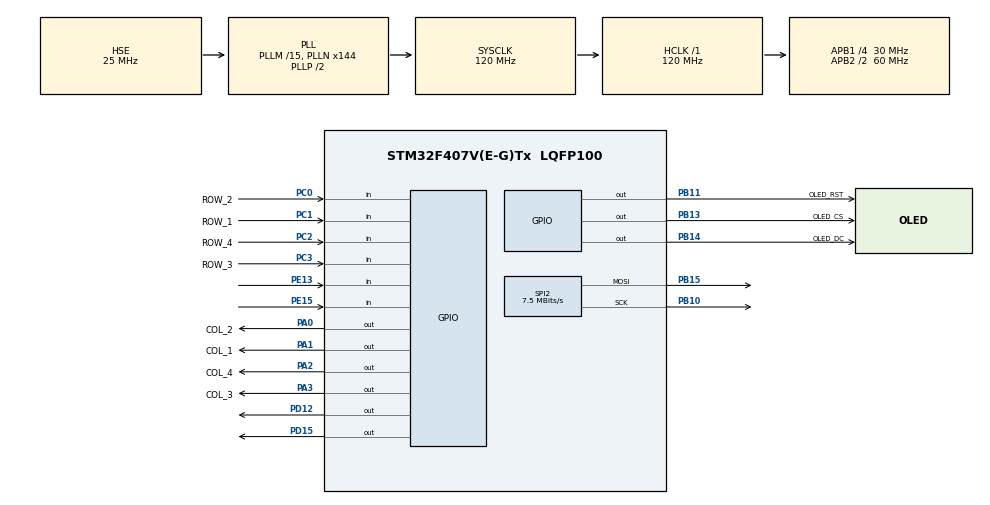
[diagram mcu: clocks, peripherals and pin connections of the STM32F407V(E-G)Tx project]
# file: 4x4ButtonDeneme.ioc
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Mcu.Family=STM32F4
Mcu.Name=STM32F407V(E-G)Tx
Mcu.Package=LQFP100
NVIC.PriorityGroup=NVIC_PRIORITYGROUP_4
PA0-WKUP.GPIO_Label=COL_2
PA0-WKUP.GPIO_ModeDefaultOutputPP=GPIO_MODE_OUTPUT_PP
PA0-WKUP.GPIO_Speed=GPIO_SPEED_FREQ_LOW
PA0-WKUP.PinState=GPIO_PIN_RESET
PA0-WKUP.Signal=GPIO_Output
PA1.GPIO_Label=COL_1
PA1.GPIO_ModeDefaultOutputPP=GPIO_MODE_OUTPUT_PP
PA1.GPIO_Speed=GPIO_SPEED_FREQ_LOW
PA1.PinState=GPIO_PIN_RESET
PA1.Signal=GPIO_Output
PA13.Mode=Serial_Wire
PA13.Signal=SYS_JTMS-SWDIO
PA14.Mode=Serial_Wire
PA14.Signal=SYS_JTCK-SWCLK
PA2.GPIO_Label=COL_4
PA2.GPIO_ModeDefaultOutputPP=GPIO_MODE_OUTPUT_PP
PA2.GPIO_Speed=GPIO_SPEED_FREQ_LOW
PA2.PinState=GPIO_PIN_RESET
PA2.Signal=GPIO_Output
PA3.GPIO_Label=COL_3
PA3.GPIO_ModeDefaultOutputPP=GPIO_MODE_OUTPUT_PP
PA3.GPIO_Speed=GPIO_SPEED_FREQ_LOW
PA3.PinState=GPIO_PIN_RESET
PA3.Signal=GPIO_Output
PB10.Mode=TX_Only_Simplex_Unidirect_Master
PB10.Signal=SPI2_SCK
PB11.GPIO_Label=OLED_RST
PB11.GPIO_ModeDefaultOutputPP=GPIO_MODE_OUTPUT_PP
PB11.GPIO_PuPd=GPIO_PULLUP
PB11.GPIO_Speed=GPIO_SPEED_FREQ_HIGH
PB11.PinState=GPIO_PIN_SET
PB11.Signal=GPIO_Output
PB13.GPIO_Label=OLED_CS
PB13.GPIO_ModeDefaultOutputPP=GPIO_MODE_OUTPUT_PP
PB13.GPIO_PuPd=GPIO_PULLUP
PB13.GPIO_Speed=GPIO_SPEED_FREQ_HIGH
PB13.PinState=GPIO_PIN_SET
PB13.Signal=GPIO_Output
PB14.GPIO_Label=OLED_DC
PB14.GPIO_ModeDefaultOutputPP=GPIO_MODE_OUTPUT_PP
PB14.GPIO_PuPd=GPIO_PULLUP
PB14.GPIO_Speed=GPIO_SPEED_FREQ_HIGH
PB14.PinState=GPIO_PIN_SET
PB14.Signal=GPIO_Output
PB15.Mode=TX_Only_Simplex_Unidirect_Master
PB15.Signal=SPI2_MOSI
PC0.GPIO_Label=ROW_2
PC0.GPIO_PuPd=GPIO_PULLUP
PC0.Signal=GPIO_Input
PC1.GPIO_Label=ROW_1
PC1.GPIO_PuPd=GPIO_PULLUP
PC1.Signal=GPIO_Input
PC2.GPIO_Label=ROW_4
PC2.GPIO_PuPd=GPIO_PULLUP
PC2.Signal=GPIO_Input
PC3.GPIO_Label=ROW_3
PC3.GPIO_PuPd=GPIO_PULLUP
PC3.Signal=GPIO_Input
PD12.Signal=GPIO_Output
PD15.Signal=GPIO_Output
PE13.Signal=GPIO_Input
PE15.Signal=GPIO_Input
PH0-OSC_IN.Mode=HSE-External-Oscillator
PH0-OSC_IN.Signal=RCC_OSC_IN
PH1-OSC_OUT.Mode=HSE-External-Oscillator
PH1-OSC_OUT.Signal=RCC_OSC_OUT
ProjectManager.HeapSize=0x200
ProjectManager.StackSize=0x400
ProjectManager.TargetToolchain=STM32CubeIDE
RCC.48MHZClocksFreq_Value=48000000
RCC.AHBFreq_Value=120000000
RCC.APB1CLKDivider=RCC_HCLK_DIV4
RCC.APB1Freq_Value=30000000
RCC.APB1TimFreq_Value=60000000
RCC.APB2CLKDivider=RCC_HCLK_DIV2
RCC.APB2Freq_Value=60000000
RCC.APB2TimFreq_Value=120000000
RCC.CortexFreq_Value=120000000
RCC.HCLKFreq_Value=120000000
RCC.HSE_VALUE=25000000
RCC.HSI_VALUE=16000000
RCC.LSE_VALUE=32768
RCC.PLLM=15
RCC.PLLN=144
RCC.PLLQ=5
RCC.PLLSourceVirtual=RCC_PLLSOURCE_HSE
RCC.SYSCLKFreq_VALUE=120000000
RCC.SYSCLKSource=RCC_SYSCLKSOURCE_PLLCLK
RCC.VCOOutputFreq_Value=240000000
SPI2.BaudRatePrescaler=SPI_BAUDRATEPRESCALER_4
SPI2.CalculateBaudRate=7.5 MBits/s
SPI2.Direction=SPI_DIRECTION_2LINES
SPI2.Mode=SPI_MODE_MASTER
SPI2.VirtualType=VM_MASTER
board=custom

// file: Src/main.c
/* USER CODE BEGIN Header */
/**
  ******************************************************************************
  * @file           : main.c
  * @brief          : Main program body
  ******************************************************************************
  * @attention
  *
  * Copyright (c) 2023 STMicroelectronics.
  * All rights reserved.
  *
  * This software is licensed under terms that can be found in the LICENSE file
  * in the root directory of this software component.
  * If no LICENSE file comes with this software, it is provided AS-IS.
  *
  ******************************************************************************
  */
/* USER CODE END Header */
#include "main.h"

/* USER CODE BEGIN Includes */
#include "u8g2/u8g2.h"
#include  "stdbool.h"
#include <string.h>
#include  <stdio.h>
/* USER CODE END Includes */

/* USER CODE BEGIN PTD */
GPIO_TypeDef* ROW_1_Port = GPIOC;
GPIO_TypeDef* ROW_2_Port = GPIOC;
GPIO_TypeDef* ROW_3_Port = GPIOC;
GPIO_TypeDef* ROW_4_Port = GPIOC;
GPIO_TypeDef* COL_1_Port = GPIOA;
GPIO_TypeDef* COL_2_Port = GPIOA;
GPIO_TypeDef* COL_3_Port = GPIOA;
GPIO_TypeDef* COL_4_Port = GPIOA;

/* USER CODE END PTD */

SPI_HandleTypeDef hspi2;

/* USER CODE BEGIN PV */
char numBuffer[4];
char numABuffer[4];
char numBBuffer[4];
char numCBuffer[4];
char numDBuffer[4];
uint8_t bufferIndex = 0;

uint8_t buttonPressed = 0;
uint8_t button2Pressed = 0;

extern uint8_t u8x8_stm32_gpio_and_delay(u8x8_t *u8x8, uint8_t msg, uint8_t arg_int, void *arg_ptr);
extern uint8_t u8x8_byte_stm32_hw_spi(u8x8_t *u8x8, uint8_t msg, uint8_t arg_int, void *arg_ptr);
bool firstTime = false;
static u8g2_t u8g2;
/* USER CODE END PV */

void SystemClock_Config(void);
static void MX_GPIO_Init(void);
static void MX_SPI2_Init(void);

/* USER CODE BEGIN 0 */

void processKeyPress(char key) {
    // Clear the buffer and set common settings
    u8g2_SetFontMode(&u8g2, 0);  // Transparent
    u8g2_SetFontDirection(&u8g2, 0);
    u8g2_SetFont(&u8g2, u8g2_font_6x12_tr);

    switch (key) {
        case '1':
        case '2':
        case '3':
        case '4':
        case '5':
        case '6':
        case '7':
        case '8':
        case '9':
        case '0':
            if (bufferIndex < 4) {
                numBuffer[bufferIndex++] = key;
                numBuffer[bufferIndex] = '\0';  // Null-terminate the string
                u8g2_ClearBuffer(&u8g2);
                u8g2_SendBuffer(&u8g2);
                u8g2_DrawUTF8(&u8g2, 60, 60, numBuffer);
                u8g2_SendBuffer(&u8g2);
            }
            break;
        case '*':
            bufferIndex = 0;
            u8g2_ClearBuffer(&u8g2);
            u8g2_DrawUTF8(&u8g2, 60, 60, "DELETED! ");
            u8g2_SendBuffer(&u8g2);
            break;
        case '#':
            if (bufferIndex > 0) {
                // Decrement bufferIndex to point to the last entered digit
                --bufferIndex;
                numBuffer[bufferIndex] = '\0';  // Set the last digit to null character
                u8g2_ClearBuffer(&u8g2);
                u8g2_SendBuffer(&u8g2);
                u8g2_DrawUTF8(&u8g2, 60, 60, numBuffer);  // Redraw the buffer without the last digit
                u8g2_SendBuffer(&u8g2);
            }
            break;
        case 'A':
        	if(bufferIndex == 4){

        	    for (int i = 0; i < 4; ++i) {
        	        numABuffer[i] = numBuffer[i];
        	    }
                u8g2_ClearBuffer(&u8g2);
                u8g2_DrawUTF8(&u8g2, 5, 60, "A SAVED ");
                u8g2_SendBuffer(&u8g2);
                bufferIndex = 0;
                memset(numBuffer, 0, sizeof(numBuffer));
        		numABuffer[4] = '\0';

        	}
            break;
        case 'B':
        	if(bufferIndex == 4){

        	    for (int i = 0; i < 4; ++i) {
        	        numBBuffer[i] = numBuffer[i];
        	    }

                u8g2_ClearBuffer(&u8g2);
                u8g2_DrawUTF8(&u8g2, 5, 50, "B SAVED ");
                u8g2_SendBuffer(&u8g2);
                bufferIndex = 0;
                memset(numBuffer, 0, sizeof(numBuffer));
        		numBBuffer[4] = '\0';

        	}
            break;
        case 'C':
        	if(bufferIndex == 4){

        	    for (int i = 0; i < 4; ++i) {
        	        numCBuffer[i] = numBuffer[i];
        	    }

                u8g2_ClearBuffer(&u8g2);
                u8g2_DrawUTF8(&u8g2, 5, 50, "C SAVED ");
                u8g2_SendBuffer(&u8g2);
                bufferIndex = 0;
                memset(numBuffer, 0, sizeof(numBuffer));
        		numCBuffer[4] = '\0';

        	}
            break;
        case 'D':
        	if(bufferIndex == 4){

        	    for (int i = 0; i < 4; ++i) {
        	        numDBuffer[i] = numBuffer[i];
        	    }

                u8g2_ClearBuffer(&u8g2);
                u8g2_DrawUTF8(&u8g2, 5, 50, "D SAVED ");
                u8g2_SendBuffer(&u8g2);
                bufferIndex = 0;
                memset(numBuffer, 0, sizeof(numBuffer));
        		numDBuffer[4] = '\0';

        	}
            break;
        default:
            // Handle other key presses or invalid keys
            break;

    }
    if(bufferIndex == 4){
    u8g2_ClearBuffer(&u8g2);
    u8g2_DrawUTF8(&u8g2, 32, 40, numBuffer);
    u8g2_DrawUTF8(&u8g2, 8, 50, "PRESS * TO DELETE ALL ");
    u8g2_DrawUTF8(&u8g2, 8, 60, "OR PRESS A/B/C/D ");
    u8g2_DrawUTF8(&u8g2, 8, 70, "OR # TO DELETE ");
    u8g2_DrawUTF8(&u8g2, 8, 80, "LAST NUMBER ");
    u8g2_SendBuffer(&u8g2);

    }

}

void showKeyPress(char key) {
    // Clear the buffer and set common settings
    u8g2_SetFontMode(&u8g2, 0);  // Transparent
    u8g2_SetFontDirection(&u8g2, 0);
    u8g2_SetFont(&u8g2, u8g2_font_6x12_tr);

    switch (key) {

        case 'A':
            u8g2_ClearBuffer(&u8g2);
            u8g2_DrawUTF8(&u8g2, 56, 50, numABuffer);
            u8g2_SendBuffer(&u8g2);
            break;
        case 'B':
            u8g2_ClearBuffer(&u8g2);
            u8g2_DrawUTF8(&u8g2, 56, 50, numBBuffer);
            u8g2_SendBuffer(&u8g2);
            break;
        case 'C':
            u8g2_ClearBuffer(&u8g2);
            u8g2_DrawUTF8(&u8g2, 56, 50, numCBuffer);
            u8g2_SendBuffer(&u8g2);
            break;
        case 'D':
            u8g2_ClearBuffer(&u8g2);
            u8g2_DrawUTF8(&u8g2, 56, 50, numDBuffer);
            u8g2_SendBuffer(&u8g2);
            break;
        default:
            break;
    }
}

char keypad_scan(void)
{
  char keys[4][4] = {{'1', '2', '3', 'A'},
                     {'4', '5', '6', 'B'},
                     {'7', '8', '9', 'C'},
                     {'*', '0', '#', 'D'}};

  for(int i = 0; i < 4; i++)
  {
    // Set current column as output and low
    switch(i)
    {
      case 0:
        HAL_GPIO_WritePin(COL_1_Port, COL_1_Pin, GPIO_PIN_RESET);
        HAL_GPIO_WritePin(COL_2_Port, COL_2_Pin, GPIO_PIN_SET);
        HAL_GPIO_WritePin(COL_3_Port, COL_3_Pin, GPIO_PIN_SET);
        HAL_GPIO_WritePin(COL_4_Port, COL_4_Pin, GPIO_PIN_SET);
        break;

      case 1:
        HAL_GPIO_WritePin(COL_1_Port, COL_1_Pin, GPIO_PIN_SET);
        HAL_GPIO_WritePin(COL_2_Port, COL_2_Pin, GPIO_PIN_RESET);
        HAL_GPIO_WritePin(COL_3_Port, COL_3_Pin, GPIO_PIN_SET);
        HAL_GPIO_WritePin(COL_4_Port, COL_4_Pin, GPIO_PIN_SET);
        break;

	  case 2:
		HAL_GPIO_WritePin(COL_1_Port, COL_1_Pin, GPIO_PIN_SET);
		HAL_GPIO_WritePin(COL_2_Port, COL_2_Pin, GPIO_PIN_SET);
		HAL_GPIO_WritePin(COL_3_Port, COL_3_Pin, GPIO_PIN_RESET);
		HAL_GPIO_WritePin(COL_4_Port, COL_4_Pin, GPIO_PIN_SET);
		break;

	  case 3:
		HAL_GPIO_WritePin(COL_1_Port, COL_1_Pin, GPIO_PIN_SET);
		HAL_GPIO_WritePin(COL_2_Port, COL_2_Pin, GPIO_PIN_SET);
		HAL_GPIO_WritePin(COL_3_Port, COL_3_Pin, GPIO_PIN_SET);
		HAL_GPIO_WritePin(COL_4_Port, COL_4_Pin, GPIO_PIN_RESET);
		break;
}
// Read current rows
if(HAL_GPIO_ReadPin(ROW_1_Port, ROW_1_Pin) == GPIO_PIN_RESET)
  return keys[0][i];
if(HAL_GPIO_ReadPin(ROW_2_Port, ROW_2_Pin) == GPIO_PIN_RESET)
  return keys[1][i];
if(HAL_GPIO_ReadPin(ROW_3_Port, ROW_3_Pin) == GPIO_PIN_RESET)
  return keys[2][i];
if(HAL_GPIO_ReadPin(ROW_4_Port, ROW_4_Pin) == GPIO_PIN_RESET)
  return keys[3][i];
}
  HAL_Delay(50);

return 0; // No key pressed
}

/* USER CODE END 0 */

int main(void)
{
  /* USER CODE BEGIN 1 */
	char key_pressed = 0;
  /* USER CODE END 1 */

  /* MCU Configuration--------------------------------------------------------*/

  /* Reset of all peripherals, Initializes the Flash interface and the Systick. */
  HAL_Init();

  /* Configure the system clock */
  SystemClock_Config();

  /* Initialize all configured peripherals */
  MX_GPIO_Init();
  MX_SPI2_Init();
  /* USER CODE BEGIN 2 */
	u8g2_Setup_ssd1327_ea_w128128_f(&u8g2, U8G2_R0, u8x8_byte_stm32_hw_spi, u8x8_stm32_gpio_and_delay);
	u8g2_InitDisplay(&u8g2);
	u8g2_SetPowerSave(&u8g2, 0);
    u8g2_SetFontMode(&u8g2, 0);  // Transparent
    u8g2_SetFontDirection(&u8g2, 0);
    u8g2_SetFont(&u8g2, u8g2_font_6x12_tr);
    u8g2_DrawUTF8(&u8g2, 8, 30, "Choose 4 numbers");
    u8g2_DrawUTF8(&u8g2, 8, 60, "Click White Button");
    u8g2_DrawUTF8(&u8g2, 8, 90, "To Start!");
    u8g2_SendBuffer(&u8g2);
  /* USER CODE END 2 */

  /* Infinite loop */
  /* USER CODE BEGIN WHILE */
  while (1)
  {

      key_pressed = keypad_scan();

	    if (HAL_GPIO_ReadPin(GPIOE, GPIO_PIN_15)) {
	        // Button is pressed

	        if (!buttonPressed) {
	            buttonPressed = 1;  // Set the flag
	            processKeyPress(key_pressed);
	        }
	    } else {
	        buttonPressed = 0;  // Reset the flag when the button is released
	    }

	    if (HAL_GPIO_ReadPin(GPIOE, GPIO_PIN_13)) {
	        // Button is pressed

	        if (!button2Pressed) {
	            button2Pressed = 1;  // Set the flag

	            showKeyPress(key_pressed);
	        	}
	    } else {
	        button2Pressed = 0;  // Reset the flag when the button is released
	    }
	    HAL_Delay(10);

    /* USER CODE END WHILE */

  }
}

void SystemClock_Config(void)
{
  RCC_OscInitTypeDef RCC_OscInitStruct = {0};
  RCC_ClkInitTypeDef RCC_ClkInitStruct = {0};

  /** Configure the main internal regulator output voltage
  */
  __HAL_RCC_PWR_CLK_ENABLE();
  __HAL_PWR_VOLTAGESCALING_CONFIG(PWR_REGULATOR_VOLTAGE_SCALE1);

  /** Initializes the RCC Oscillators according to the specified parameters
  * in the RCC_OscInitTypeDef structure.
  */
  RCC_OscInitStruct.OscillatorType = RCC_OSCILLATORTYPE_HSE;
  RCC_OscInitStruct.HSEState = RCC_HSE_ON;
  RCC_OscInitStruct.PLL.PLLState = RCC_PLL_ON;
  RCC_OscInitStruct.PLL.PLLSource = RCC_PLLSOURCE_HSE;
  RCC_OscInitStruct.PLL.PLLM = 15;
  RCC_OscInitStruct.PLL.PLLN = 144;
  RCC_OscInitStruct.PLL.PLLP = RCC_PLLP_DIV2;
  RCC_OscInitStruct.PLL.PLLQ = 5;
  if (HAL_RCC_OscConfig(&RCC_OscInitStruct) != HAL_OK)
  {
    Error_Handler();
  }

  /** Initializes the CPU, AHB and APB buses clocks
  */
  RCC_ClkInitStruct.ClockType = RCC_CLOCKTYPE_HCLK|RCC_CLOCKTYPE_SYSCLK
                              |RCC_CLOCKTYPE_PCLK1|RCC_CLOCKTYPE_PCLK2;
  RCC_ClkInitStruct.SYSCLKSource = RCC_SYSCLKSOURCE_PLLCLK;
  RCC_ClkInitStruct.AHBCLKDivider = RCC_SYSCLK_DIV1;
  RCC_ClkInitStruct.APB1CLKDivider = RCC_HCLK_DIV4;
  RCC_ClkInitStruct.APB2CLKDivider = RCC_HCLK_DIV2;

  if (HAL_RCC_ClockConfig(&RCC_ClkInitStruct, FLASH_LATENCY_3) != HAL_OK)
  {
    Error_Handler();
  }
}

static void MX_SPI2_Init(void)
{

  /* SPI2 parameter configuration*/
  hspi2.Instance = SPI2;
  hspi2.Init.Mode = SPI_MODE_MASTER;
  hspi2.Init.Direction = SPI_DIRECTION_2LINES;
  hspi2.Init.DataSize = SPI_DATASIZE_8BIT;
  hspi2.Init.CLKPolarity = SPI_POLARITY_LOW;
  hspi2.Init.CLKPhase = SPI_PHASE_1EDGE;
  hspi2.Init.NSS = SPI_NSS_SOFT;
  hspi2.Init.BaudRatePrescaler = SPI_BAUDRATEPRESCALER_4;
  hspi2.Init.FirstBit = SPI_FIRSTBIT_MSB;
  hspi2.Init.TIMode = SPI_TIMODE_DISABLE;
  hspi2.Init.CRCCalculation = SPI_CRCCALCULATION_DISABLE;
  hspi2.Init.CRCPolynomial = 10;
  if (HAL_SPI_Init(&hspi2) != HAL_OK)
  {
    Error_Handler();
  }

}

static void MX_GPIO_Init(void)
{
  GPIO_InitTypeDef GPIO_InitStruct = {0};

  /* GPIO Ports Clock Enable */
  __HAL_RCC_GPIOH_CLK_ENABLE();
  __HAL_RCC_GPIOC_CLK_ENABLE();
  __HAL_RCC_GPIOA_CLK_ENABLE();
  __HAL_RCC_GPIOE_CLK_ENABLE();
  __HAL_RCC_GPIOB_CLK_ENABLE();
  __HAL_RCC_GPIOD_CLK_ENABLE();

  /*Configure GPIO pin Output Level */
  HAL_GPIO_WritePin(GPIOA, COL_2_Pin|COL_1_Pin|COL_4_Pin|COL_3_Pin, GPIO_PIN_RESET);

  /*Configure GPIO pin Output Level */
  HAL_GPIO_WritePin(GPIOB, OLED_RST_Pin|OLED_CS_Pin|OLED_DC_Pin, GPIO_PIN_SET);

  /*Configure GPIO pin Output Level */
  HAL_GPIO_WritePin(GPIOD, GPIO_PIN_12|GPIO_PIN_15, GPIO_PIN_RESET);

  /*Configure GPIO pins : ROW_2_Pin ROW_1_Pin ROW_4_Pin ROW_3_Pin */
  GPIO_InitStruct.Pin = ROW_2_Pin|ROW_1_Pin|ROW_4_Pin|ROW_3_Pin;
  GPIO_InitStruct.Mode = GPIO_MODE_INPUT;
  GPIO_InitStruct.Pull = GPIO_PULLUP;
  HAL_GPIO_Init(GPIOC, &GPIO_InitStruct);

  /*Configure GPIO pins : COL_2_Pin COL_1_Pin COL_4_Pin COL_3_Pin */
  GPIO_InitStruct.Pin = COL_2_Pin|COL_1_Pin|COL_4_Pin|COL_3_Pin;
  GPIO_InitStruct.Mode = GPIO_MODE_OUTPUT_PP;
  GPIO_InitStruct.Pull = GPIO_NOPULL;
  GPIO_InitStruct.Speed = GPIO_SPEED_FREQ_LOW;
  HAL_GPIO_Init(GPIOA, &GPIO_InitStruct);

  /*Configure GPIO pins : PE13 PE15 */
  GPIO_InitStruct.Pin = GPIO_PIN_13|GPIO_PIN_15;
  GPIO_InitStruct.Mode = GPIO_MODE_INPUT;
  GPIO_InitStruct.Pull = GPIO_NOPULL;
  HAL_GPIO_Init(GPIOE, &GPIO_InitStruct);

  /*Configure GPIO pins : OLED_RST_Pin OLED_CS_Pin OLED_DC_Pin */
  GPIO_InitStruct.Pin = OLED_RST_Pin|OLED_CS_Pin|OLED_DC_Pin;
  GPIO_InitStruct.Mode = GPIO_MODE_OUTPUT_PP;
  GPIO_InitStruct.Pull = GPIO_PULLUP;
  GPIO_InitStruct.Speed = GPIO_SPEED_FREQ_HIGH;
  HAL_GPIO_Init(GPIOB, &GPIO_InitStruct);

  /*Configure GPIO pins : PD12 PD15 */
  GPIO_InitStruct.Pin = GPIO_PIN_12|GPIO_PIN_15;
  GPIO_InitStruct.Mode = GPIO_MODE_OUTPUT_PP;
  GPIO_InitStruct.Pull = GPIO_NOPULL;
  GPIO_InitStruct.Speed = GPIO_SPEED_FREQ_LOW;
  HAL_GPIO_Init(GPIOD, &GPIO_InitStruct);

}

void Error_Handler(void)
{
  __disable_irq();
  while (1)
  {
  }
}
